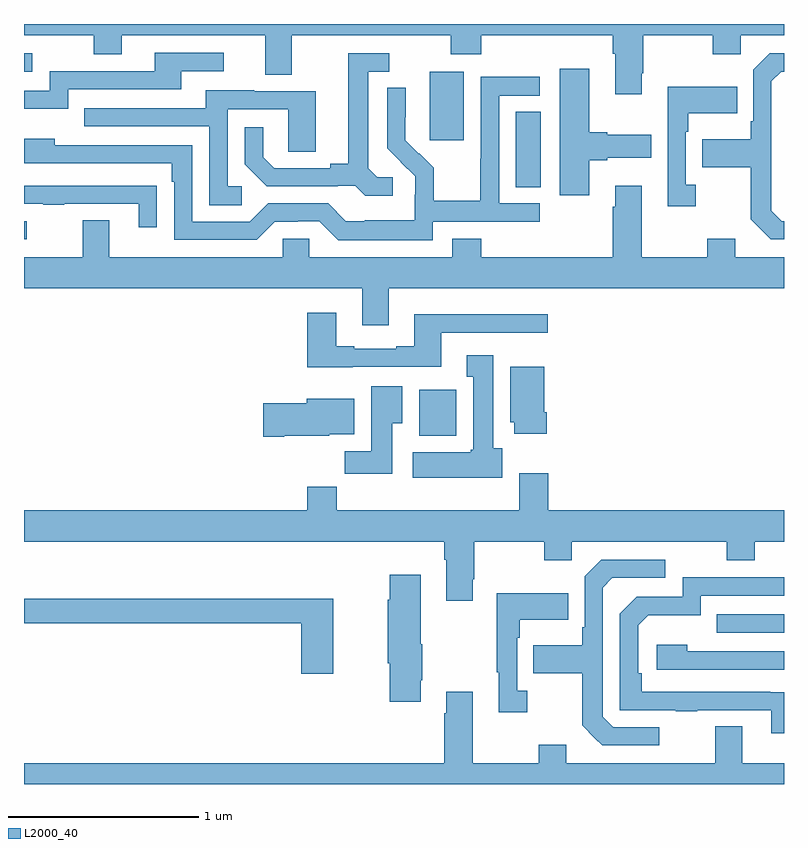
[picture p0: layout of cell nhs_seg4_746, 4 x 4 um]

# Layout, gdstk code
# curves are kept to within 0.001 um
import gdstk
lib = gdstk.Library(unit=1e-6, precision=1e-09)
def R(c, l, rs):  # rectangles x0, y0, x1, y1
    for r in rs: c.add(gdstk.rectangle(r[:2], r[2:], *l))
def P(c, l, *ps):  # polygons
    for p in ps: c.add(gdstk.Polygon(p, *l))
L2000_40 = (2000, 40)

nhs_seg4_746 = lib.new_cell('nhs_seg4_746')
R(nhs_seg4_746, L2000_40, [(152.647,773.697,153,773.793), (151.079,774.734,151.276,774.976), (149,775.767,149.014,775.863), (151.589,776.041,151.72,776.438), (151.136,776.289,151.315,776.65), (149,776.649,149.044,776.745)])
P(nhs_seg4_746, L2000_40, [(152.251,776.641),(152.259,776.641),(152.259,776.84),(152.626,776.84),(152.626,776.741),(152.772,776.741),(152.772,776.84),(153,776.84),(153,776.9),(149,776.9),(149,776.84),(149.368,776.84),(149.368,776.741),(149.515,776.741),(149.515,776.84),(150.269,776.84),(150.269,776.632),(150.409,776.632),(150.409,776.84),(151.246,776.84),(151.246,776.741),(151.406,776.741),(151.406,776.84),(152.099,776.84),(152.099,776.744),(152.111,776.744),(152.111,776.529),(152.251,776.529)],
  [(149.232,776.556),(149.827,776.556),(149.827,776.652),(150.052,776.652),(150.052,776.748),(149.687,776.748),(149.687,776.652),(149.136,776.652),(149.136,776.55),(149,776.55),(149,776.453),(149.232,776.453)],
  [(153,775.863),(152.988,775.863),(152.934,775.917),(152.934,776.598),(152.985,776.649),(153,776.649),(153,776.745),(152.925,776.745),(152.838,776.658),(152.838,776.389),(152.826,776.389),(152.826,776.293),(152.569,776.293),(152.569,776.146),(152.826,776.146),(152.826,775.873),(152.931,775.767),(153,775.767)],
  [(150.94,776.094),(150.858,776.094),(150.811,776.141),(150.811,776.649),(150.922,776.649),(150.922,776.745),(150.707,776.745),(150.707,776.165),(150.611,776.165),(150.611,776.142),(150.316,776.142),(150.259,776.199),(150.259,776.356),(150.162,776.356),(150.162,776.162),(150.278,776.046),(150.65,776.046),(150.65,776.049),(150.744,776.049),(150.796,775.997),(150.94,775.997)],
  [(151.975,776.183),(152.071,776.183),(152.071,776.195),(152.302,776.195),(152.302,776.317),(152.071,776.317),(152.071,776.33),(151.975,776.33),(151.975,776.665),(151.82,776.665),(151.82,775.998),(151.975,775.998)],
  [(151.152,775.86),(151.714,775.86),(151.714,775.956),(151.5,775.956),(151.5,776.523),(151.714,776.523),(151.714,776.622),(151.404,776.622),(151.404,776.192),(151.402,776.192),(151.402,775.969),(151.157,775.969),(151.157,776.143),(151.08,776.22),(151.077,776.217),(151.007,776.288),(151.008,776.564),(150.912,776.564),(150.912,776.246),(151.058,776.098),(151.058,776.001),(151.056,776.001),(151.056,775.867),(150.793,775.867),(150.793,775.863),(150.693,775.863),(150.6,775.956),(150.285,775.956),(150.189,775.86),(149.886,775.86),(149.886,776.262),(149.162,776.262),(149.162,776.296),(149.001,776.296),(149.001,776.166),(149.777,776.166),(149.777,776.069),(149.79,776.069),(149.79,775.764),(150.225,775.764),(150.321,775.86),(150.44,775.86),(150.44,775.863),(150.555,775.863),(150.655,775.763),(151.152,775.763)],
  [(152.536,776.054),(152.484,776.054),(152.484,776.333),(152.497,776.333),(152.497,776.429),(152.753,776.429),(152.753,776.569),(152.388,776.569),(152.388,775.941),(152.536,775.941)],
  [(150.145,776.046),(150.072,776.046),(150.072,776.451),(150.39,776.451),(150.39,776.227),(150.535,776.227),(150.535,776.547),(150.211,776.547),(150.211,776.551),(149.957,776.551),(149.957,776.457),(149.317,776.457),(149.317,776.361),(149.976,776.361),(149.976,775.945),(150.145,775.945)],
  [(150.919,775.508),(153,775.508),(153,775.672),(152.743,775.672),(152.743,775.771),(152.596,775.771),(152.596,775.672),(152.251,775.672),(152.251,776.05),(152.111,776.05),(152.111,775.937),(152.099,775.937),(152.099,775.672),(151.406,775.672),(151.406,775.771),(151.253,775.771),(151.253,775.672),(150.501,775.672),(150.501,775.77),(150.363,775.77),(150.363,775.672),(149.449,775.672),(149.449,775.867),(149.309,775.867),(149.309,775.672),(149,775.672),(149,775.508),(150.779,775.508),(150.779,775.314),(150.919,775.314)],
  [(149.699,776.048),(149.597,776.048),(149.597,776.049),(149,776.049),(149,775.953),(149.101,775.953),(149.101,775.948),(149.213,775.948),(149.213,775.953),(149.603,775.953),(149.603,775.83),(149.699,775.83)],
  [(150.731,775.095),(151.195,775.095),(151.195,775.275),(151.756,775.275),(151.756,775.372),(151.055,775.372),(151.055,775.204),(150.959,775.204),(150.959,775.191),(150.739,775.191),(150.739,775.204),(150.643,775.204),(150.643,775.381),(150.491,775.381),(150.491,775.094),(150.731,775.094)],
  [(151.516,774.666),(151.471,774.666),(151.471,775.156),(151.331,775.156),(151.331,775.043),(151.364,775.043),(151.364,774.66),(151.351,774.66),(151.351,774.646),(151.047,774.646),(151.047,774.512),(151.516,774.512)],
  [(151.751,774.856),(151.738,774.856),(151.738,775.096),(151.559,775.096),(151.559,774.804),(151.58,774.804),(151.58,774.744),(151.751,774.744)],
  [(150.937,774.8),(150.991,774.8),(150.991,774.994),(150.827,774.994),(150.827,774.652),(150.688,774.652),(150.688,774.534),(150.937,774.534)],
  [(150.37,774.734),(150.606,774.734),(150.606,774.74),(150.739,774.74),(150.739,774.928),(150.488,774.928),(150.488,774.905),(150.258,774.905),(150.258,774.727),(150.37,774.727)],
  [(151.363,773.977),(151.371,773.977),(151.371,774.176),(151.738,774.176),(151.738,774.077),(151.884,774.077),(151.884,774.176),(152.698,774.176),(152.698,774.077),(152.845,774.077),(152.845,774.176),(153,774.176),(153,774.34),(151.76,774.34),(151.76,774.535),(151.607,774.535),(151.607,774.34),(150.647,774.34),(150.647,774.464),(150.491,774.464),(150.491,774.34),(149,774.34),(149,774.176),(151.211,774.176),(151.211,774.08),(151.223,774.08),(151.223,773.865),(151.363,773.865)],
  [(152.344,773.199),(152.1,773.199),(152.046,773.253),(152.046,773.934),(152.097,773.985),(152.374,773.985),(152.374,774.081),(152.037,774.081),(151.95,773.994),(151.95,773.725),(151.938,773.725),(151.938,773.629),(151.681,773.629),(151.681,773.482),(151.938,773.482),(151.938,773.209),(152.043,773.103),(152.344,773.103)],
  [(151.087,773.446),(151.095,773.446),(151.095,773.635),(151.087,773.635),(151.087,774.001),(150.925,774.001),(150.925,773.871),(150.914,773.871),(150.914,773.535),(150.925,773.535),(150.925,773.334),(151.087,773.334)],
  [(153,773.384),(152.252,773.385),(152.252,773.482),(152.232,773.482),(152.232,773.736),(152.285,773.789),(152.562,773.789),(152.562,773.892),(153,773.892),(153,773.988),(152.466,773.988),(152.466,773.886),(152.226,773.886),(152.136,773.796),(152.136,773.289),(152.431,773.289),(152.431,773.284),(152.543,773.284),(152.543,773.289),(152.933,773.289),(152.933,773.166),(153,773.166)],
  [(151.648,773.39),(151.596,773.39),(151.596,773.669),(151.609,773.669),(151.609,773.765),(151.865,773.765),(151.865,773.905),(151.488,773.905),(151.488,773.489),(151.499,773.489),(151.499,773.277),(151.648,773.277)],
  [(150.628,773.875),(149,773.875),(149,773.746),(150.458,773.746),(150.458,773.481),(150.628,773.481)],
  [(153,773.598),(152.492,773.598),(152.492,773.632),(152.331,773.632),(152.331,773.502),(153,773.502)],
  [(153,773.008),(152.779,773.008),(152.779,773.203),(152.639,773.203),(152.639,773.008),(151.855,773.008),(151.855,773.107),(151.708,773.107),(151.708,773.008),(151.363,773.008),(151.363,773.386),(151.223,773.386),(151.223,773.273),(151.211,773.273),(151.211,773.008),(149,773.008),(149,772.9),(153,772.9)])

lib.write_gds('nhs_seg4_746.gds')
